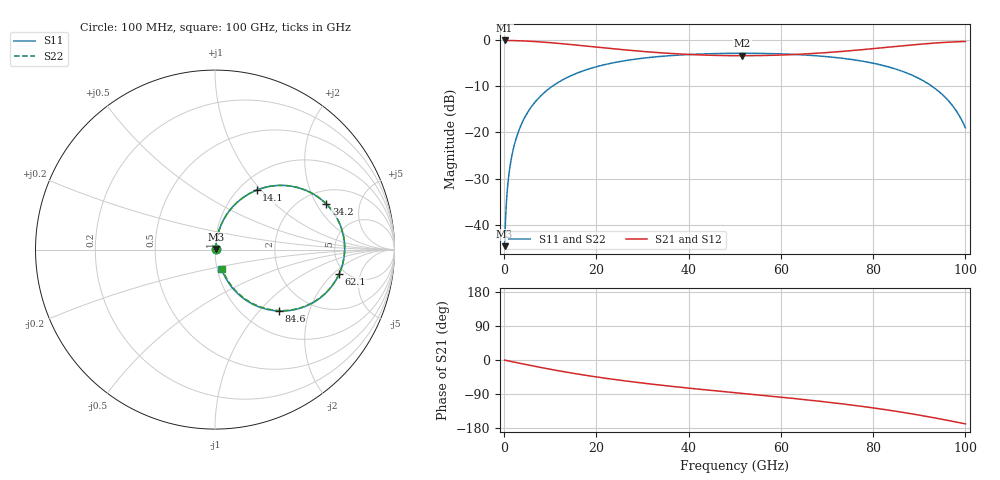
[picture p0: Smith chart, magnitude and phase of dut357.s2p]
! Touchstone file exported from HFSS 2026.1.0
!  File:  C:/ffzhzh/LocalFiles/Ansys_Project_Files/temp_train_RDL_357_1783503315_44152.aedt
!  Generated:  05:36:41 PM Jul  8, 2026
!  Design:  RDL
!  Project:  temp_train_RDL_357_1783503315_44152
! Variables:
!  h_bsmrdl = 2um
!  h_ox = 20um
!  h_rdl = 5um
!  h_sub = 80um
!  h_tmrdl = 3.43um
!  h_tsv = 80um
!  h_via = 3um
!  l_bsmrdl = 300um
!  l_sub = 964.64um
!  l_tmrdl = 564.64um
!  m_sub = 200um
!  pitch = 55.48um
!  r_tsv = 6um
!  s_tmrdl = 10um
!  w_bsmrdl = 18um
!  w_sub = 500um
!  w_tmrdl = 12.48um
!  x_tsv_center1 = 570.88um
!  x_tsv_center2 = 888.88um
!  x_tsv_center3 = 1466um
!  x_tsv_center4 = 1784um
!  x_tsv_center5 = 2361.12um
!  x_tsv_center6 = 2679.12um
# GHz S MA R 50.000000
! Terminal data exported
! Port[1] = TM_RDL1_1_T1
! Port[2] = TM_RDL1_1_T2
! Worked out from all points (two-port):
!   1000 points, 100 MHz to 100 GHz, reference 50 ohm
!   highest |S21| = -0.04 dB at 100 MHz (marker M1); lowest = -3.3 dB at 51.6 GHz (marker M2)
!   |S21| within 3 dB of the highest: start of sweep to 39.32 GHz; 63.89 GHz to end of sweep
!   lowest |S11| = -44.7 dB at 100 MHz (marker M3), VSWR 1.01, Z = 50.5 + j0.346 ohm
!   |S11| at or under -10 dB: start of sweep to 10.41 GHz; 92.79 GHz to end of sweep
!   |S22| runs from -44.7 to -2.8 dB; largest |S21 - S12| = 1.7e-14
!   S11 on the Smith chart (normalised r, x): 100 MHz: 1.01, +0.01; 14.1 GHz: 1.20, +0.95; 34.2 GHz: 2.64, +2.43; 62.1 GHz: 4.43, -2.39; 84.6 GHz: 1.42, -1.28; 100 GHz: 1.05, -0.23
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0.1  0.005843 36.0  0.9953 -0.3  0.9953 -0.3  0.005843 36.0
! Gamma 0 0 0 0
! Port Impedance 50 0 50 0
0.9  0.03074 77.7  0.9942 -2.3  0.9942 -2.3  0.03074 77.7
1.4  0.04703 79.6  0.9933 -3.6  0.9933 -3.6  0.04703 79.6
2.3  0.07633 79.7  0.9912 -5.9  0.9912 -5.9  0.07633 79.7
3.6  0.1182 77.7  0.9865 -9.2  0.9865 -9.2  0.1182 77.7
5.4  0.1745 73.9  0.9771 -13.6  0.9771 -13.6  0.1745 73.9
7.7  0.2426 68.7  0.9612 -19.1  0.9612 -19.1  0.2426 68.7
14.1  0.4043 55.0  0.9028 -33.3  0.9028 -33.3  0.4043 55.0
16.8  0.4598 49.7  0.8755 -38.7  0.8755 -38.7  0.4598 49.7
24.1  0.5754 36.9  0.8048 -51.7  0.8048 -51.7  0.5753 37.0
33.4  0.6647 23.3  0.7345 -65.6  0.7345 -65.6  0.6647 23.4
34.2  0.6701 22.3  0.7297 -66.7  0.7297 -66.7  0.67 22.3
50.1  0.7222 2.9  0.6804 -86.4  0.6804 -86.4  0.7221 3.1
51.6  0.7226 1.2  0.68 -88.1  0.68 -88.1  0.7225 1.3
62.1  0.7049 -11.1  0.6979 -100.7  0.6979 -100.7  0.7048 -11.0
66.7  0.6845 -16.9  0.7172 -106.6  0.7172 -106.6  0.6843 -16.7
83.4  0.513 -41.8  0.8424 -132.4  0.8424 -132.4  0.5129 -41.5
84.6  0.4926 -44.0  0.8538 -134.6  0.8538 -134.6  0.4925 -43.6
89.8  0.3883 -53.8  0.9028 -145.0  0.9028 -145.0  0.3883 -53.3
94  0.2848 -62.1  0.9379 -154.3  0.9379 -154.3  0.2848 -61.3
97.2  0.1956 -68.0  0.9585 -161.8  0.9585 -161.8  0.1958 -67.0
100  0.1123 -71.2  0.9703 -168.6  0.9703 -168.6  0.1127 -69.5
